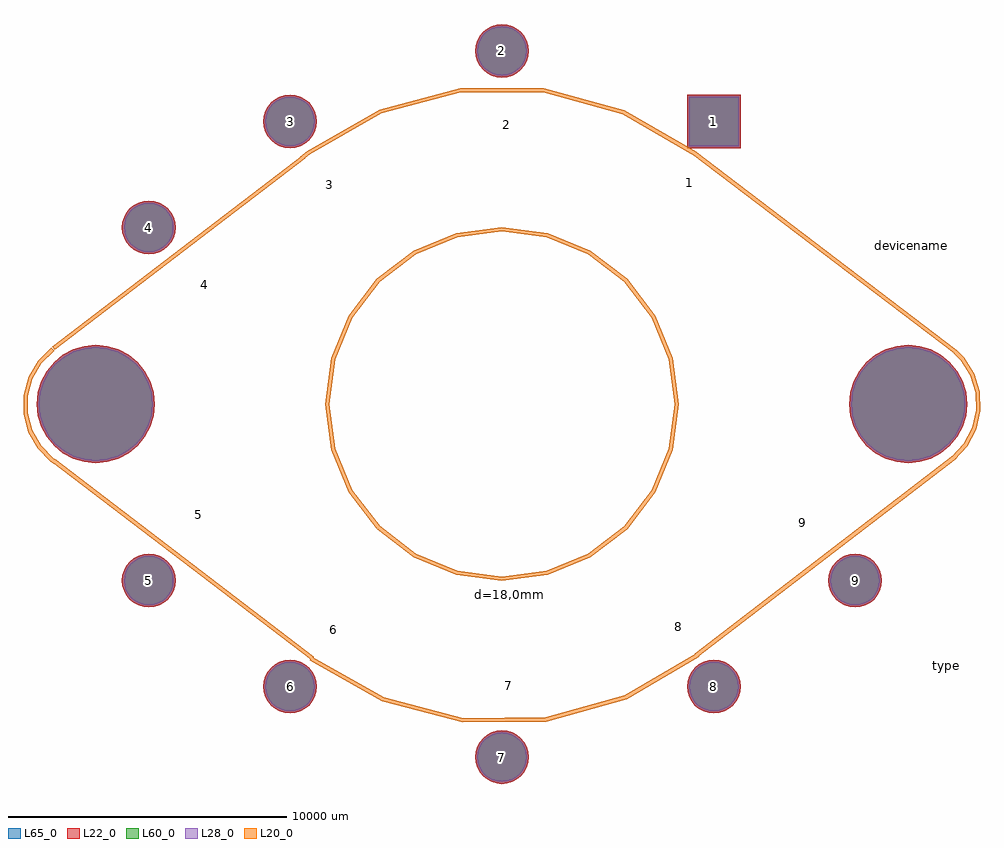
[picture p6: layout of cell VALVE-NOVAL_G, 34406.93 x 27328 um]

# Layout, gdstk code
import gdstk
lib = gdstk.Library(unit=1e-6, precision=1e-09)
def R(c, l, rs):  # rectangles x0, y0, x1, y1
    for r in rs: c.add(gdstk.rectangle(r[:2], r[2:], *l))
def P(c, l, *ps):  # polygons
    for p in ps: c.add(gdstk.Polygon(p, *l))
L20_0 = (20, 0)
L22_0 = (22, 0)
L28_0 = (28, 0)
L60_0 = (60, 0)
L65_0 = (65, 0)

valve_noval_g = lib.new_cell('VALVE-NOVAL_G')
R(valve_noval_g, L22_0, [(6656,9196,8584,11124)])
P(valve_noval_g, L22_0, [(16729.78,0),(16688.953,414.524),(16568.041,813.118),(16371.69,1180.465),(16107.446,1502.446),(15785.465,1766.69),(15418.118,1963.041),(15019.524,2083.953),(14605,2124.78),(14190.476,2083.953),(13791.882,1963.041),(13424.535,1766.69),(13102.554,1502.446),(12838.31,1180.465),(12641.959,813.118),(12521.047,414.524),(12480.22,0),(12521.047,-414.524),(12641.959,-813.118),(12838.31,-1180.465),(13102.554,-1502.446),(13424.535,-1766.69),(13791.882,-1963.041),(14190.476,-2083.953),(14605,-2124.78),(15019.524,-2083.953),(15418.118,-1963.041),(15785.465,-1766.69),(16107.446,-1502.446),(16371.69,-1180.465),(16568.041,-813.118),(16688.953,-414.524)],
  [(-12480.22,0),(-12521.047,414.524),(-12641.959,813.118),(-12838.31,1180.465),(-13102.554,1502.446),(-13424.535,1766.69),(-13791.882,1963.041),(-14190.476,2083.953),(-14605,2124.78),(-15019.524,2083.953),(-15418.118,1963.041),(-15785.465,1766.69),(-16107.446,1502.446),(-16371.69,1180.465),(-16568.041,813.118),(-16688.953,414.524),(-16729.78,0),(-16688.953,-414.524),(-16568.041,-813.118),(-16371.69,-1180.465),(-16107.446,-1502.446),(-15785.465,-1766.69),(-15418.118,-1963.041),(-15019.524,-2083.953),(-14605,-2124.78),(-14190.476,-2083.953),(-13791.882,-1963.041),(-13424.535,-1766.69),(-13102.554,-1502.446),(-12838.31,-1180.465),(-12641.959,-813.118),(-12521.047,-414.524)],
  [(13664,-6350),(13645.477,-6161.933),(13590.62,-5981.093),(13501.537,-5814.43),(13381.651,-5668.349),(13235.57,-5548.463),(13068.907,-5459.38),(12888.067,-5404.523),(12700,-5386),(12511.933,-5404.523),(12331.093,-5459.38),(12164.43,-5548.463),(12018.349,-5668.349),(11898.463,-5814.43),(11809.38,-5981.093),(11754.523,-6161.933),(11736,-6350),(11754.523,-6538.067),(11809.38,-6718.907),(11898.463,-6885.57),(12018.349,-7031.651),(12164.43,-7151.537),(12331.093,-7240.62),(12511.933,-7295.477),(12700,-7314),(12888.067,-7295.477),(13068.907,-7240.62),(13235.57,-7151.537),(13381.651,-7031.651),(13501.537,-6885.57),(13590.62,-6718.907),(13645.477,-6538.067)],
  [(8584,-10160),(8565.477,-9971.933),(8510.62,-9791.093),(8421.537,-9624.43),(8301.651,-9478.349),(8155.57,-9358.463),(7988.907,-9269.38),(7808.067,-9214.523),(7620,-9196),(7431.933,-9214.523),(7251.093,-9269.38),(7084.43,-9358.463),(6938.349,-9478.349),(6818.463,-9624.43),(6729.38,-9791.093),(6674.523,-9971.933),(6656,-10160),(6674.523,-10348.067),(6729.38,-10528.907),(6818.463,-10695.57),(6938.349,-10841.651),(7084.43,-10961.537),(7251.093,-11050.62),(7431.933,-11105.477),(7620,-11124),(7808.067,-11105.477),(7988.907,-11050.62),(8155.57,-10961.537),(8301.651,-10841.651),(8421.537,-10695.57),(8510.62,-10528.907),(8565.477,-10348.067)],
  [(964,-12700),(945.477,-12511.933),(890.62,-12331.093),(801.537,-12164.43),(681.651,-12018.349),(535.57,-11898.463),(368.907,-11809.38),(188.067,-11754.523),(0,-11736),(-188.067,-11754.523),(-368.907,-11809.38),(-535.57,-11898.463),(-681.651,-12018.349),(-801.537,-12164.43),(-890.62,-12331.093),(-945.477,-12511.933),(-964,-12700),(-945.477,-12888.067),(-890.62,-13068.907),(-801.537,-13235.57),(-681.651,-13381.651),(-535.57,-13501.537),(-368.907,-13590.62),(-188.067,-13645.477),(0,-13664),(188.067,-13645.477),(368.907,-13590.62),(535.57,-13501.537),(681.651,-13381.651),(801.537,-13235.57),(890.62,-13068.907),(945.477,-12888.067)],
  [(-6656,-10160),(-6674.523,-9971.933),(-6729.38,-9791.093),(-6818.463,-9624.43),(-6938.349,-9478.349),(-7084.43,-9358.463),(-7251.093,-9269.38),(-7431.933,-9214.523),(-7620,-9196),(-7808.067,-9214.523),(-7988.907,-9269.38),(-8155.57,-9358.463),(-8301.651,-9478.349),(-8421.537,-9624.43),(-8510.62,-9791.093),(-8565.477,-9971.933),(-8584,-10160),(-8565.477,-10348.067),(-8510.62,-10528.907),(-8421.537,-10695.57),(-8301.651,-10841.651),(-8155.57,-10961.537),(-7988.907,-11050.62),(-7808.067,-11105.477),(-7620,-11124),(-7431.933,-11105.477),(-7251.093,-11050.62),(-7084.43,-10961.537),(-6938.349,-10841.651),(-6818.463,-10695.57),(-6729.38,-10528.907),(-6674.523,-10348.067)],
  [(-11736,-6350),(-11754.523,-6161.933),(-11809.38,-5981.093),(-11898.463,-5814.43),(-12018.349,-5668.349),(-12164.43,-5548.463),(-12331.093,-5459.38),(-12511.933,-5404.523),(-12700,-5386),(-12888.067,-5404.523),(-13068.907,-5459.38),(-13235.57,-5548.463),(-13381.651,-5668.349),(-13501.537,-5814.43),(-13590.62,-5981.093),(-13645.477,-6161.933),(-13664,-6350),(-13645.477,-6538.067),(-13590.62,-6718.907),(-13501.537,-6885.57),(-13381.651,-7031.651),(-13235.57,-7151.537),(-13068.907,-7240.62),(-12888.067,-7295.477),(-12700,-7314),(-12511.933,-7295.477),(-12331.093,-7240.62),(-12164.43,-7151.537),(-12018.349,-7031.651),(-11898.463,-6885.57),(-11809.38,-6718.907),(-11754.523,-6538.067)],
  [(-11736,6350),(-11754.523,6538.067),(-11809.38,6718.907),(-11898.463,6885.57),(-12018.349,7031.651),(-12164.43,7151.537),(-12331.093,7240.62),(-12511.933,7295.477),(-12700,7314),(-12888.067,7295.477),(-13068.907,7240.62),(-13235.57,7151.537),(-13381.651,7031.651),(-13501.537,6885.57),(-13590.62,6718.907),(-13645.477,6538.067),(-13664,6350),(-13645.477,6161.933),(-13590.62,5981.093),(-13501.537,5814.43),(-13381.651,5668.349),(-13235.57,5548.463),(-13068.907,5459.38),(-12888.067,5404.523),(-12700,5386),(-12511.933,5404.523),(-12331.093,5459.38),(-12164.43,5548.463),(-12018.349,5668.349),(-11898.463,5814.43),(-11809.38,5981.093),(-11754.523,6161.933)],
  [(-6656,10160),(-6674.523,10348.067),(-6729.38,10528.907),(-6818.463,10695.57),(-6938.349,10841.651),(-7084.43,10961.537),(-7251.093,11050.62),(-7431.933,11105.477),(-7620,11124),(-7808.067,11105.477),(-7988.907,11050.62),(-8155.57,10961.537),(-8301.651,10841.651),(-8421.537,10695.57),(-8510.62,10528.907),(-8565.477,10348.067),(-8584,10160),(-8565.477,9971.933),(-8510.62,9791.093),(-8421.537,9624.43),(-8301.651,9478.349),(-8155.57,9358.463),(-7988.907,9269.38),(-7808.067,9214.523),(-7620,9196),(-7431.933,9214.523),(-7251.093,9269.38),(-7084.43,9358.463),(-6938.349,9478.349),(-6818.463,9624.43),(-6729.38,9791.093),(-6674.523,9971.933)],
  [(964,12700),(945.477,12888.067),(890.62,13068.907),(801.537,13235.57),(681.651,13381.651),(535.57,13501.537),(368.907,13590.62),(188.067,13645.477),(0,13664),(-188.067,13645.477),(-368.907,13590.62),(-535.57,13501.537),(-681.651,13381.651),(-801.537,13235.57),(-890.62,13068.907),(-945.477,12888.067),(-964,12700),(-945.477,12511.933),(-890.62,12331.093),(-801.537,12164.43),(-681.651,12018.349),(-535.57,11898.463),(-368.907,11809.38),(-188.067,11754.523),(0,11736),(188.067,11754.523),(368.907,11809.38),(535.57,11898.463),(681.651,12018.349),(801.537,12164.43),(890.62,12331.093),(945.477,12511.933)])
R(valve_noval_g, L28_0, [(6731,9271,8509,11049)])
P(valve_noval_g, L28_0, [(16654.78,0),(16615.394,399.892),(16498.75,784.417),(16309.33,1138.797),(16054.413,1449.413),(15743.797,1704.33),(15389.417,1893.75),(15004.892,2010.394),(14605,2049.78),(14205.108,2010.394),(13820.583,1893.75),(13466.203,1704.33),(13155.587,1449.413),(12900.67,1138.797),(12711.25,784.417),(12594.606,399.892),(12555.22,0),(12594.606,-399.892),(12711.25,-784.417),(12900.67,-1138.797),(13155.587,-1449.413),(13466.203,-1704.33),(13820.583,-1893.75),(14205.108,-2010.394),(14605,-2049.78),(15004.892,-2010.394),(15389.417,-1893.75),(15743.797,-1704.33),(16054.413,-1449.413),(16309.33,-1138.797),(16498.75,-784.417),(16615.394,-399.892)],
  [(-12555.22,0),(-12594.606,399.892),(-12711.25,784.417),(-12900.67,1138.797),(-13155.587,1449.413),(-13466.203,1704.33),(-13820.583,1893.75),(-14205.108,2010.394),(-14605,2049.78),(-15004.892,2010.394),(-15389.417,1893.75),(-15743.797,1704.33),(-16054.413,1449.413),(-16309.33,1138.797),(-16498.75,784.417),(-16615.394,399.892),(-16654.78,0),(-16615.394,-399.892),(-16498.75,-784.417),(-16309.33,-1138.797),(-16054.413,-1449.413),(-15743.797,-1704.33),(-15389.417,-1893.75),(-15004.892,-2010.394),(-14605,-2049.78),(-14205.108,-2010.394),(-13820.583,-1893.75),(-13466.203,-1704.33),(-13155.587,-1449.413),(-12900.67,-1138.797),(-12711.25,-784.417),(-12594.606,-399.892)],
  [(13589,-6350),(13571.918,-6176.565),(13521.329,-6009.794),(13439.176,-5856.098),(13328.618,-5721.382),(13193.902,-5610.824),(13040.206,-5528.671),(12873.435,-5478.082),(12700,-5461),(12526.565,-5478.082),(12359.794,-5528.671),(12206.098,-5610.824),(12071.382,-5721.382),(11960.824,-5856.098),(11878.671,-6009.794),(11828.082,-6176.565),(11811,-6350),(11828.082,-6523.435),(11878.671,-6690.206),(11960.824,-6843.902),(12071.382,-6978.618),(12206.098,-7089.176),(12359.794,-7171.329),(12526.565,-7221.918),(12700,-7239),(12873.435,-7221.918),(13040.206,-7171.329),(13193.902,-7089.176),(13328.618,-6978.618),(13439.176,-6843.902),(13521.329,-6690.206),(13571.918,-6523.435)],
  [(8509,-10160),(8491.918,-9986.565),(8441.329,-9819.794),(8359.176,-9666.098),(8248.618,-9531.382),(8113.902,-9420.824),(7960.206,-9338.671),(7793.435,-9288.082),(7620,-9271),(7446.565,-9288.082),(7279.794,-9338.671),(7126.098,-9420.824),(6991.382,-9531.382),(6880.824,-9666.098),(6798.671,-9819.794),(6748.082,-9986.565),(6731,-10160),(6748.082,-10333.435),(6798.671,-10500.206),(6880.824,-10653.902),(6991.382,-10788.618),(7126.098,-10899.176),(7279.794,-10981.329),(7446.565,-11031.918),(7620,-11049),(7793.435,-11031.918),(7960.206,-10981.329),(8113.902,-10899.176),(8248.618,-10788.618),(8359.176,-10653.902),(8441.329,-10500.206),(8491.918,-10333.435)],
  [(889,-12700),(871.918,-12526.565),(821.329,-12359.794),(739.176,-12206.098),(628.618,-12071.382),(493.902,-11960.824),(340.206,-11878.671),(173.435,-11828.082),(0,-11811),(-173.435,-11828.082),(-340.206,-11878.671),(-493.902,-11960.824),(-628.618,-12071.382),(-739.176,-12206.098),(-821.329,-12359.794),(-871.918,-12526.565),(-889,-12700),(-871.918,-12873.435),(-821.329,-13040.206),(-739.176,-13193.902),(-628.618,-13328.618),(-493.902,-13439.176),(-340.206,-13521.329),(-173.435,-13571.918),(0,-13589),(173.435,-13571.918),(340.206,-13521.329),(493.902,-13439.176),(628.618,-13328.618),(739.176,-13193.902),(821.329,-13040.206),(871.918,-12873.435)],
  [(-6731,-10160),(-6748.082,-9986.565),(-6798.671,-9819.794),(-6880.824,-9666.098),(-6991.382,-9531.382),(-7126.098,-9420.824),(-7279.794,-9338.671),(-7446.565,-9288.082),(-7620,-9271),(-7793.435,-9288.082),(-7960.206,-9338.671),(-8113.902,-9420.824),(-8248.618,-9531.382),(-8359.176,-9666.098),(-8441.329,-9819.794),(-8491.918,-9986.565),(-8509,-10160),(-8491.918,-10333.435),(-8441.329,-10500.206),(-8359.176,-10653.902),(-8248.618,-10788.618),(-8113.902,-10899.176),(-7960.206,-10981.329),(-7793.435,-11031.918),(-7620,-11049),(-7446.565,-11031.918),(-7279.794,-10981.329),(-7126.098,-10899.176),(-6991.382,-10788.618),(-6880.824,-10653.902),(-6798.671,-10500.206),(-6748.082,-10333.435)],
  [(-11811,-6350),(-11828.082,-6176.565),(-11878.671,-6009.794),(-11960.824,-5856.098),(-12071.382,-5721.382),(-12206.098,-5610.824),(-12359.794,-5528.671),(-12526.565,-5478.082),(-12700,-5461),(-12873.435,-5478.082),(-13040.206,-5528.671),(-13193.902,-5610.824),(-13328.618,-5721.382),(-13439.176,-5856.098),(-13521.329,-6009.794),(-13571.918,-6176.565),(-13589,-6350),(-13571.918,-6523.435),(-13521.329,-6690.206),(-13439.176,-6843.902),(-13328.618,-6978.618),(-13193.902,-7089.176),(-13040.206,-7171.329),(-12873.435,-7221.918),(-12700,-7239),(-12526.565,-7221.918),(-12359.794,-7171.329),(-12206.098,-7089.176),(-12071.382,-6978.618),(-11960.824,-6843.902),(-11878.671,-6690.206),(-11828.082,-6523.435)],
  [(-11811,6350),(-11828.082,6523.435),(-11878.671,6690.206),(-11960.824,6843.902),(-12071.382,6978.618),(-12206.098,7089.176),(-12359.794,7171.329),(-12526.565,7221.918),(-12700,7239),(-12873.435,7221.918),(-13040.206,7171.329),(-13193.902,7089.176),(-13328.618,6978.618),(-13439.176,6843.902),(-13521.329,6690.206),(-13571.918,6523.435),(-13589,6350),(-13571.918,6176.565),(-13521.329,6009.794),(-13439.176,5856.098),(-13328.618,5721.382),(-13193.902,5610.824),(-13040.206,5528.671),(-12873.435,5478.082),(-12700,5461),(-12526.565,5478.082),(-12359.794,5528.671),(-12206.098,5610.824),(-12071.382,5721.382),(-11960.824,5856.098),(-11878.671,6009.794),(-11828.082,6176.565)],
  [(-6731,10160),(-6748.082,10333.435),(-6798.671,10500.206),(-6880.824,10653.902),(-6991.382,10788.618),(-7126.098,10899.176),(-7279.794,10981.329),(-7446.565,11031.918),(-7620,11049),(-7793.435,11031.918),(-7960.206,10981.329),(-8113.902,10899.176),(-8248.618,10788.618),(-8359.176,10653.902),(-8441.329,10500.206),(-8491.918,10333.435),(-8509,10160),(-8491.918,9986.565),(-8441.329,9819.794),(-8359.176,9666.098),(-8248.618,9531.382),(-8113.902,9420.824),(-7960.206,9338.671),(-7793.435,9288.082),(-7620,9271),(-7446.565,9288.082),(-7279.794,9338.671),(-7126.098,9420.824),(-6991.382,9531.382),(-6880.824,9666.098),(-6798.671,9819.794),(-6748.082,9986.565)],
  [(889,12700),(871.918,12873.435),(821.329,13040.206),(739.176,13193.902),(628.618,13328.618),(493.902,13439.176),(340.206,13521.329),(173.435,13571.918),(0,13589),(-173.435,13571.918),(-340.206,13521.329),(-493.902,13439.176),(-628.618,13328.618),(-739.176,13193.902),(-821.329,13040.206),(-871.918,12873.435),(-889,12700),(-871.918,12526.565),(-821.329,12359.794),(-739.176,12206.098),(-628.618,12071.382),(-493.902,11960.824),(-340.206,11878.671),(-173.435,11828.082),(0,11811),(173.435,11828.082),(340.206,11878.671),(493.902,11960.824),(628.618,12071.382),(739.176,12206.098),(821.329,12359.794),(871.918,12526.565)])
R(valve_noval_g, L60_0, [(6731,9271,8509,11049)])
P(valve_noval_g, L60_0, [(16654.78,0),(16615.394,399.892),(16498.75,784.417),(16309.33,1138.797),(16054.413,1449.413),(15743.797,1704.33),(15389.417,1893.75),(15004.892,2010.394),(14605,2049.78),(14205.108,2010.394),(13820.583,1893.75),(13466.203,1704.33),(13155.587,1449.413),(12900.67,1138.797),(12711.25,784.417),(12594.606,399.892),(12555.22,0),(12594.606,-399.892),(12711.25,-784.417),(12900.67,-1138.797),(13155.587,-1449.413),(13466.203,-1704.33),(13820.583,-1893.75),(14205.108,-2010.394),(14605,-2049.78),(15004.892,-2010.394),(15389.417,-1893.75),(15743.797,-1704.33),(16054.413,-1449.413),(16309.33,-1138.797),(16498.75,-784.417),(16615.394,-399.892)],
  [(-12555.22,0),(-12594.606,399.892),(-12711.25,784.417),(-12900.67,1138.797),(-13155.587,1449.413),(-13466.203,1704.33),(-13820.583,1893.75),(-14205.108,2010.394),(-14605,2049.78),(-15004.892,2010.394),(-15389.417,1893.75),(-15743.797,1704.33),(-16054.413,1449.413),(-16309.33,1138.797),(-16498.75,784.417),(-16615.394,399.892),(-16654.78,0),(-16615.394,-399.892),(-16498.75,-784.417),(-16309.33,-1138.797),(-16054.413,-1449.413),(-15743.797,-1704.33),(-15389.417,-1893.75),(-15004.892,-2010.394),(-14605,-2049.78),(-14205.108,-2010.394),(-13820.583,-1893.75),(-13466.203,-1704.33),(-13155.587,-1449.413),(-12900.67,-1138.797),(-12711.25,-784.417),(-12594.606,-399.892)],
  [(13589,-6350),(13571.918,-6176.565),(13521.329,-6009.794),(13439.176,-5856.098),(13328.618,-5721.382),(13193.902,-5610.824),(13040.206,-5528.671),(12873.435,-5478.082),(12700,-5461),(12526.565,-5478.082),(12359.794,-5528.671),(12206.098,-5610.824),(12071.382,-5721.382),(11960.824,-5856.098),(11878.671,-6009.794),(11828.082,-6176.565),(11811,-6350),(11828.082,-6523.435),(11878.671,-6690.206),(11960.824,-6843.902),(12071.382,-6978.618),(12206.098,-7089.176),(12359.794,-7171.329),(12526.565,-7221.918),(12700,-7239),(12873.435,-7221.918),(13040.206,-7171.329),(13193.902,-7089.176),(13328.618,-6978.618),(13439.176,-6843.902),(13521.329,-6690.206),(13571.918,-6523.435)],
  [(8509,-10160),(8491.918,-9986.565),(8441.329,-9819.794),(8359.176,-9666.098),(8248.618,-9531.382),(8113.902,-9420.824),(7960.206,-9338.671),(7793.435,-9288.082),(7620,-9271),(7446.565,-9288.082),(7279.794,-9338.671),(7126.098,-9420.824),(6991.382,-9531.382),(6880.824,-9666.098),(6798.671,-9819.794),(6748.082,-9986.565),(6731,-10160),(6748.082,-10333.435),(6798.671,-10500.206),(6880.824,-10653.902),(6991.382,-10788.618),(7126.098,-10899.176),(7279.794,-10981.329),(7446.565,-11031.918),(7620,-11049),(7793.435,-11031.918),(7960.206,-10981.329),(8113.902,-10899.176),(8248.618,-10788.618),(8359.176,-10653.902),(8441.329,-10500.206),(8491.918,-10333.435)],
  [(889,-12700),(871.918,-12526.565),(821.329,-12359.794),(739.176,-12206.098),(628.618,-12071.382),(493.902,-11960.824),(340.206,-11878.671),(173.435,-11828.082),(0,-11811),(-173.435,-11828.082),(-340.206,-11878.671),(-493.902,-11960.824),(-628.618,-12071.382),(-739.176,-12206.098),(-821.329,-12359.794),(-871.918,-12526.565),(-889,-12700),(-871.918,-12873.435),(-821.329,-13040.206),(-739.176,-13193.902),(-628.618,-13328.618),(-493.902,-13439.176),(-340.206,-13521.329),(-173.435,-13571.918),(0,-13589),(173.435,-13571.918),(340.206,-13521.329),(493.902,-13439.176),(628.618,-13328.618),(739.176,-13193.902),(821.329,-13040.206),(871.918,-12873.435)],
  [(-6731,-10160),(-6748.082,-9986.565),(-6798.671,-9819.794),(-6880.824,-9666.098),(-6991.382,-9531.382),(-7126.098,-9420.824),(-7279.794,-9338.671),(-7446.565,-9288.082),(-7620,-9271),(-7793.435,-9288.082),(-7960.206,-9338.671),(-8113.902,-9420.824),(-8248.618,-9531.382),(-8359.176,-9666.098),(-8441.329,-9819.794),(-8491.918,-9986.565),(-8509,-10160),(-8491.918,-10333.435),(-8441.329,-10500.206),(-8359.176,-10653.902),(-8248.618,-10788.618),(-8113.902,-10899.176),(-7960.206,-10981.329),(-7793.435,-11031.918),(-7620,-11049),(-7446.565,-11031.918),(-7279.794,-10981.329),(-7126.098,-10899.176),(-6991.382,-10788.618),(-6880.824,-10653.902),(-6798.671,-10500.206),(-6748.082,-10333.435)],
  [(-11811,-6350),(-11828.082,-6176.565),(-11878.671,-6009.794),(-11960.824,-5856.098),(-12071.382,-5721.382),(-12206.098,-5610.824),(-12359.794,-5528.671),(-12526.565,-5478.082),(-12700,-5461),(-12873.435,-5478.082),(-13040.206,-5528.671),(-13193.902,-5610.824),(-13328.618,-5721.382),(-13439.176,-5856.098),(-13521.329,-6009.794),(-13571.918,-6176.565),(-13589,-6350),(-13571.918,-6523.435),(-13521.329,-6690.206),(-13439.176,-6843.902),(-13328.618,-6978.618),(-13193.902,-7089.176),(-13040.206,-7171.329),(-12873.435,-7221.918),(-12700,-7239),(-12526.565,-7221.918),(-12359.794,-7171.329),(-12206.098,-7089.176),(-12071.382,-6978.618),(-11960.824,-6843.902),(-11878.671,-6690.206),(-11828.082,-6523.435)],
  [(-11811,6350),(-11828.082,6523.435),(-11878.671,6690.206),(-11960.824,6843.902),(-12071.382,6978.618),(-12206.098,7089.176),(-12359.794,7171.329),(-12526.565,7221.918),(-12700,7239),(-12873.435,7221.918),(-13040.206,7171.329),(-13193.902,7089.176),(-13328.618,6978.618),(-13439.176,6843.902),(-13521.329,6690.206),(-13571.918,6523.435),(-13589,6350),(-13571.918,6176.565),(-13521.329,6009.794),(-13439.176,5856.098),(-13328.618,5721.382),(-13193.902,5610.824),(-13040.206,5528.671),(-12873.435,5478.082),(-12700,5461),(-12526.565,5478.082),(-12359.794,5528.671),(-12206.098,5610.824),(-12071.382,5721.382),(-11960.824,5856.098),(-11878.671,6009.794),(-11828.082,6176.565)],
  [(-6731,10160),(-6748.082,10333.435),(-6798.671,10500.206),(-6880.824,10653.902),(-6991.382,10788.618),(-7126.098,10899.176),(-7279.794,10981.329),(-7446.565,11031.918),(-7620,11049),(-7793.435,11031.918),(-7960.206,10981.329),(-8113.902,10899.176),(-8248.618,10788.618),(-8359.176,10653.902),(-8441.329,10500.206),(-8491.918,10333.435),(-8509,10160),(-8491.918,9986.565),(-8441.329,9819.794),(-8359.176,9666.098),(-8248.618,9531.382),(-8113.902,9420.824),(-7960.206,9338.671),(-7793.435,9288.082),(-7620,9271),(-7446.565,9288.082),(-7279.794,9338.671),(-7126.098,9420.824),(-6991.382,9531.382),(-6880.824,9666.098),(-6798.671,9819.794),(-6748.082,9986.565)],
  [(889,12700),(871.918,12873.435),(821.329,13040.206),(739.176,13193.902),(628.618,13328.618),(493.902,13439.176),(340.206,13521.329),(173.435,13571.918),(0,13589),(-173.435,13571.918),(-340.206,13521.329),(-493.902,13439.176),(-628.618,13328.618),(-739.176,13193.902),(-821.329,13040.206),(-871.918,12873.435),(-889,12700),(-871.918,12526.565),(-821.329,12359.794),(-739.176,12206.098),(-628.618,12071.382),(-493.902,11960.824),(-340.206,11878.671),(-173.435,11828.082),(0,11811),(173.435,11828.082),(340.206,11878.671),(493.902,11960.824),(628.618,12071.382),(739.176,12206.098),(821.329,12359.794),(871.918,12526.565)])
R(valve_noval_g, L65_0, [(6656,9196,8584,11124)])
P(valve_noval_g, L65_0, [(16729.78,0),(16688.953,414.524),(16568.041,813.118),(16371.69,1180.465),(16107.446,1502.446),(15785.465,1766.69),(15418.118,1963.041),(15019.524,2083.953),(14605,2124.78),(14190.476,2083.953),(13791.882,1963.041),(13424.535,1766.69),(13102.554,1502.446),(12838.31,1180.465),(12641.959,813.118),(12521.047,414.524),(12480.22,0),(12521.047,-414.524),(12641.959,-813.118),(12838.31,-1180.465),(13102.554,-1502.446),(13424.535,-1766.69),(13791.882,-1963.041),(14190.476,-2083.953),(14605,-2124.78),(15019.524,-2083.953),(15418.118,-1963.041),(15785.465,-1766.69),(16107.446,-1502.446),(16371.69,-1180.465),(16568.041,-813.118),(16688.953,-414.524)],
  [(-12480.22,0),(-12521.047,414.524),(-12641.959,813.118),(-12838.31,1180.465),(-13102.554,1502.446),(-13424.535,1766.69),(-13791.882,1963.041),(-14190.476,2083.953),(-14605,2124.78),(-15019.524,2083.953),(-15418.118,1963.041),(-15785.465,1766.69),(-16107.446,1502.446),(-16371.69,1180.465),(-16568.041,813.118),(-16688.953,414.524),(-16729.78,0),(-16688.953,-414.524),(-16568.041,-813.118),(-16371.69,-1180.465),(-16107.446,-1502.446),(-15785.465,-1766.69),(-15418.118,-1963.041),(-15019.524,-2083.953),(-14605,-2124.78),(-14190.476,-2083.953),(-13791.882,-1963.041),(-13424.535,-1766.69),(-13102.554,-1502.446),(-12838.31,-1180.465),(-12641.959,-813.118),(-12521.047,-414.524)],
  [(13664,-6350),(13645.477,-6161.933),(13590.62,-5981.093),(13501.537,-5814.43),(13381.651,-5668.349),(13235.57,-5548.463),(13068.907,-5459.38),(12888.067,-5404.523),(12700,-5386),(12511.933,-5404.523),(12331.093,-5459.38),(12164.43,-5548.463),(12018.349,-5668.349),(11898.463,-5814.43),(11809.38,-5981.093),(11754.523,-6161.933),(11736,-6350),(11754.523,-6538.067),(11809.38,-6718.907),(11898.463,-6885.57),(12018.349,-7031.651),(12164.43,-7151.537),(12331.093,-7240.62),(12511.933,-7295.477),(12700,-7314),(12888.067,-7295.477),(13068.907,-7240.62),(13235.57,-7151.537),(13381.651,-7031.651),(13501.537,-6885.57),(13590.62,-6718.907),(13645.477,-6538.067)],
  [(8584,-10160),(8565.477,-9971.933),(8510.62,-9791.093),(8421.537,-9624.43),(8301.651,-9478.349),(8155.57,-9358.463),(7988.907,-9269.38),(7808.067,-9214.523),(7620,-9196),(7431.933,-9214.523),(7251.093,-9269.38),(7084.43,-9358.463),(6938.349,-9478.349),(6818.463,-9624.43),(6729.38,-9791.093),(6674.523,-9971.933),(6656,-10160),(6674.523,-10348.067),(6729.38,-10528.907),(6818.463,-10695.57),(6938.349,-10841.651),(7084.43,-10961.537),(7251.093,-11050.62),(7431.933,-11105.477),(7620,-11124),(7808.067,-11105.477),(7988.907,-11050.62),(8155.57,-10961.537),(8301.651,-10841.651),(8421.537,-10695.57),(8510.62,-10528.907),(8565.477,-10348.067)],
  [(964,-12700),(945.477,-12511.933),(890.62,-12331.093),(801.537,-12164.43),(681.651,-12018.349),(535.57,-11898.463),(368.907,-11809.38),(188.067,-11754.523),(0,-11736),(-188.067,-11754.523),(-368.907,-11809.38),(-535.57,-11898.463),(-681.651,-12018.349),(-801.537,-12164.43),(-890.62,-12331.093),(-945.477,-12511.933),(-964,-12700),(-945.477,-12888.067),(-890.62,-13068.907),(-801.537,-13235.57),(-681.651,-13381.651),(-535.57,-13501.537),(-368.907,-13590.62),(-188.067,-13645.477),(0,-13664),(188.067,-13645.477),(368.907,-13590.62),(535.57,-13501.537),(681.651,-13381.651),(801.537,-13235.57),(890.62,-13068.907),(945.477,-12888.067)],
  [(-6656,-10160),(-6674.523,-9971.933),(-6729.38,-9791.093),(-6818.463,-9624.43),(-6938.349,-9478.349),(-7084.43,-9358.463),(-7251.093,-9269.38),(-7431.933,-9214.523),(-7620,-9196),(-7808.067,-9214.523),(-7988.907,-9269.38),(-8155.57,-9358.463),(-8301.651,-9478.349),(-8421.537,-9624.43),(-8510.62,-9791.093),(-8565.477,-9971.933),(-8584,-10160),(-8565.477,-10348.067),(-8510.62,-10528.907),(-8421.537,-10695.57),(-8301.651,-10841.651),(-8155.57,-10961.537),(-7988.907,-11050.62),(-7808.067,-11105.477),(-7620,-11124),(-7431.933,-11105.477),(-7251.093,-11050.62),(-7084.43,-10961.537),(-6938.349,-10841.651),(-6818.463,-10695.57),(-6729.38,-10528.907),(-6674.523,-10348.067)],
  [(-11736,-6350),(-11754.523,-6161.933),(-11809.38,-5981.093),(-11898.463,-5814.43),(-12018.349,-5668.349),(-12164.43,-5548.463),(-12331.093,-5459.38),(-12511.933,-5404.523),(-12700,-5386),(-12888.067,-5404.523),(-13068.907,-5459.38),(-13235.57,-5548.463),(-13381.651,-5668.349),(-13501.537,-5814.43),(-13590.62,-5981.093),(-13645.477,-6161.933),(-13664,-6350),(-13645.477,-6538.067),(-13590.62,-6718.907),(-13501.537,-6885.57),(-13381.651,-7031.651),(-13235.57,-7151.537),(-13068.907,-7240.62),(-12888.067,-7295.477),(-12700,-7314),(-12511.933,-7295.477),(-12331.093,-7240.62),(-12164.43,-7151.537),(-12018.349,-7031.651),(-11898.463,-6885.57),(-11809.38,-6718.907),(-11754.523,-6538.067)],
  [(-11736,6350),(-11754.523,6538.067),(-11809.38,6718.907),(-11898.463,6885.57),(-12018.349,7031.651),(-12164.43,7151.537),(-12331.093,7240.62),(-12511.933,7295.477),(-12700,7314),(-12888.067,7295.477),(-13068.907,7240.62),(-13235.57,7151.537),(-13381.651,7031.651),(-13501.537,6885.57),(-13590.62,6718.907),(-13645.477,6538.067),(-13664,6350),(-13645.477,6161.933),(-13590.62,5981.093),(-13501.537,5814.43),(-13381.651,5668.349),(-13235.57,5548.463),(-13068.907,5459.38),(-12888.067,5404.523),(-12700,5386),(-12511.933,5404.523),(-12331.093,5459.38),(-12164.43,5548.463),(-12018.349,5668.349),(-11898.463,5814.43),(-11809.38,5981.093),(-11754.523,6161.933)],
  [(-6656,10160),(-6674.523,10348.067),(-6729.38,10528.907),(-6818.463,10695.57),(-6938.349,10841.651),(-7084.43,10961.537),(-7251.093,11050.62),(-7431.933,11105.477),(-7620,11124),(-7808.067,11105.477),(-7988.907,11050.62),(-8155.57,10961.537),(-8301.651,10841.651),(-8421.537,10695.57),(-8510.62,10528.907),(-8565.477,10348.067),(-8584,10160),(-8565.477,9971.933),(-8510.62,9791.093),(-8421.537,9624.43),(-8301.651,9478.349),(-8155.57,9358.463),(-7988.907,9269.38),(-7808.067,9214.523),(-7620,9196),(-7431.933,9214.523),(-7251.093,9269.38),(-7084.43,9358.463),(-6938.349,9478.349),(-6818.463,9624.43),(-6729.38,9791.093),(-6674.523,9971.933)],
  [(964,12700),(945.477,12888.067),(890.62,13068.907),(801.537,13235.57),(681.651,13381.651),(535.57,13501.537),(368.907,13590.62),(188.067,13645.477),(0,13664),(-188.067,13645.477),(-368.907,13590.62),(-535.57,13501.537),(-681.651,13381.651),(-801.537,13235.57),(-890.62,13068.907),(-945.477,12888.067),(-964,12700),(-945.477,12511.933),(-890.62,12331.093),(-801.537,12164.43),(-681.651,12018.349),(-535.57,11898.463),(-368.907,11809.38),(-188.067,11754.523),(0,11736),(188.067,11754.523),(368.907,11809.38),(535.57,11898.463),(681.651,12018.349),(801.537,12164.43),(890.62,12331.093),(945.477,12511.933)])
valve_noval_g.add(gdstk.FlexPath([(-6868.871,-9153.376),(-4278.9,-10621.008),(-1397.329,-11368.298),(1579.468,-11344.319),(4448.627,-10550.705),(7014.619,-9041.54),(7045.96,-9017)], 149.998, ends="flush", simple_path=True, layer=20, datatype=0))  # L20_0
valve_noval_g.add(gdstk.FlexPath([(6954.845,8998.886),(4374.768,10497.146),(1494.827,11276.581),(-1488.716,11284.073),(-4372.536,10519.113),(-6960.106,9033.831),(-7211.06,8836.66)], 149.998, ends="flush", simple_path=True, layer=20, datatype=0))  # L20_0
valve_noval_g.add(gdstk.FlexPath([(-16156.451,1976.485),(-16622.578,1513.301),(-16952.942,945.258),(-17125.028,311.066),(-17127.109,-346.057),(-16959.044,-981.326),(-16632.286,-1551.452),(-16169.102,-2017.579),(-16080.74,-2082.8)], 149.998, ends="flush", simple_path=True, layer=20, datatype=0))  # L20_0
valve_noval_g.add(gdstk.FlexPath([(16222.657,-1952.486),(16672.877,-1467.276),(16982.175,-882.074),(17129.473,-236.76),(17104.731,424.689),(16909.638,1057.196),(16557.487,1617.657),(16306.8,1879.6)], 149.998, ends="flush", simple_path=True, layer=20, datatype=0))  # L20_0
valve_noval_g.add(gdstk.FlexPath([(-4445,-4445),(-3143.09,-5443.991),(-1626.983,-6071.983),(0,-6286.179),(1626.983,-6071.983),(3143.09,-5443.991),(4445,-4445),(5443.991,-3143.09),(6071.983,-1626.983),(6286.179,0),(6071.983,1626.983),(5443.991,3143.09),(4445,4445),(3143.09,5443.991),(1626.983,6071.983),(0,6286.179),(-1626.983,6071.983),(-3143.09,5443.991),(-4445,4445),(-5443.991,3143.09),(-6071.983,1626.983),(-6286.179,0),(-6071.983,-1626.983),(-5443.991,-3143.09),(-4445,-4445)], 149.998, ends="flush", simple_path=True, layer=20, datatype=0))  # L20_0
valve_noval_g.add(gdstk.FlexPath([(16281.4,-1905),(6985,-9042.4)], 149.998, ends="flush", simple_path=True, layer=20, datatype=0))  # L20_0
valve_noval_g.add(gdstk.FlexPath([(-16129,-2032),(-6807.2,-9144)], 149.998, ends="flush", simple_path=True, layer=20, datatype=0))  # L20_0
valve_noval_g.add(gdstk.FlexPath([(-16129,2006.6),(-7112,8890)], 149.998, ends="flush", simple_path=True, layer=20, datatype=0))  # L20_0
valve_noval_g.add(gdstk.FlexPath([(16306.8,1879.6),(6883.4,9042.4)], 149.998, ends="flush", simple_path=True, layer=20, datatype=0))  # L20_0
valve_noval_g.add(gdstk.Label('9', (12700,-6350), layer=28, texttype=0))
valve_noval_g.add(gdstk.Label('8', (7620,-10160), layer=28, texttype=0))
valve_noval_g.add(gdstk.Label('7', (0,-12700), layer=28, texttype=0))
valve_noval_g.add(gdstk.Label('6', (-7620,-10160), layer=28, texttype=0))
valve_noval_g.add(gdstk.Label('5', (-12700,-6350), layer=28, texttype=0))
valve_noval_g.add(gdstk.Label('4', (-12700,6350), layer=28, texttype=0))
valve_noval_g.add(gdstk.Label('3', (-7620,10160), layer=28, texttype=0))
valve_noval_g.add(gdstk.Label('2', (0,12700), layer=28, texttype=0))
valve_noval_g.add(gdstk.Label('1', (7620,10160), layer=28, texttype=0))
valve_noval_g.add(gdstk.Label('d=18,0mm', (254,-6858), layer=9, texttype=0))
valve_noval_g.add(gdstk.Label('9', (10795,-4267.2), layer=9, texttype=0))
valve_noval_g.add(gdstk.Label('8', (6350,-8001), layer=9, texttype=0))
valve_noval_g.add(gdstk.Label('7', (228.6,-10134.6), layer=9, texttype=0))
valve_noval_g.add(gdstk.Label('6', (-6045.2,-8102.6), layer=9, texttype=0))
valve_noval_g.add(gdstk.Label('5', (-10922,-3987.8), layer=9, texttype=0))
valve_noval_g.add(gdstk.Label('4', (-10693.4,4292.6), layer=9, texttype=0))
valve_noval_g.add(gdstk.Label('3', (-6197.6,7899.4), layer=9, texttype=0))
valve_noval_g.add(gdstk.Label('2', (152.4,10033), layer=9, texttype=0))
valve_noval_g.add(gdstk.Label('1', (6756.4,7950.2), layer=9, texttype=0))
valve_noval_g.add(gdstk.Label('type', (16002,-9398), layer=9, texttype=0))
valve_noval_g.add(gdstk.Label('devicename', (14732,5715), layer=9, texttype=0))

lib.write_gds('VALVE-NOVAL_G.gds')
